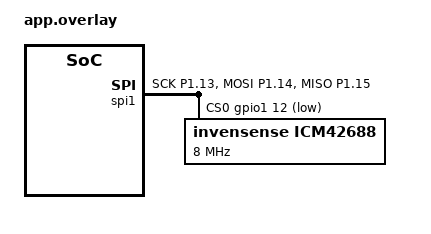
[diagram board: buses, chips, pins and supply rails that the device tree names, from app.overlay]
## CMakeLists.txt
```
# AeroDrag Wheel — Zephyr application (skeleton)
# NB: firmware SEPARATO (nRF52840). NON fa parte del build ESP-IDF della repo madre.
cmake_minimum_required(VERSION 3.20.0)

find_package(Zephyr REQUIRED HINTS $ENV{ZEPHYR_BASE})
project(aerodrag_wheel)

target_sources(app PRIVATE src/main.c)
```

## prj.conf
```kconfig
# AeroDrag Wheel — Zephyr / nRF Connect SDK config
# Board: XIAO BLE Sense (xiao_ble/nrf52840/sense) — IMU LSM6DS3TR-C onboard.

# BLE peripheral
CONFIG_BT=y
CONFIG_BT_PERIPHERAL=y
CONFIG_BT_DEVICE_NAME="AeroDrag Wheel"
CONFIG_BT_MAX_CONN=2
CONFIG_BT_GATT_CLIENT=n
CONFIG_BT_GATT_DYNAMIC_DB=y

# IMU onboard LSM6DS3TR-C (su I2C interno). Il LSM6DS3TR-C è register-compatibile
# con la famiglia LSM6DSL; verifica il driver/Kconfig corretto per la tua versione
# di NCS (alcune board lo dichiarano già nella DTS — vedi README).
CONFIG_SENSOR=y
CONFIG_I2C=y
CONFIG_LSM6DSL=y

# Floating point + stampa %f nei log
CONFIG_FPU=y
CONFIG_CBPRINTF_FP_SUPPORT=y

# Stack
CONFIG_MAIN_STACK_SIZE=4096
CONFIG_SYSTEM_WORKQUEUE_STACK_SIZE=2048

# Logging
CONFIG_LOG=y
```

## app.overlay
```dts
/*
 * AeroDrag Wheel — devicetree overlay (TEMPLATE, da adattare alla board reale).
 * ICM-42688-P collegato via SPI. Pin/SPI da verificare sulla scheda definitiva.
 * Esempio per nRF52840 (spi1). Aggiusta cs-gpios e i pin secondo l'HW.
 */

&pinctrl {
	spi1_default: spi1_default {
		group1 {
			psels = <NRF_PSEL(SPIM_SCK,  1, 13)>,
				<NRF_PSEL(SPIM_MOSI, 1, 14)>,
				<NRF_PSEL(SPIM_MISO, 1, 15)>;
		};
	};
	spi1_sleep: spi1_sleep {
		group1 {
			psels = <NRF_PSEL(SPIM_SCK,  1, 13)>,
				<NRF_PSEL(SPIM_MOSI, 1, 14)>,
				<NRF_PSEL(SPIM_MISO, 1, 15)>;
			low-power-enable;
		};
	};
};

&spi1 {
	status = "okay";
	cs-gpios = <&gpio1 12 GPIO_ACTIVE_LOW>;
	pinctrl-0 = <&spi1_default>;
	pinctrl-1 = <&spi1_sleep>;
	pinctrl-names = "default", "sleep";

	icm42688: icm42688@0 {
		compatible = "invensense,icm42688";
		reg = <0>;
		spi-max-frequency = <8000000>;
		/* int-gpios opzionale: data-ready su un GPIO se cablato */
	};
};

/ {
	aliases {
		imu = &icm42688;
	};
};
```

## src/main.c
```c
/*
 * AeroDrag Wheel — firmware sensore ruota Crr
 * Board: Seeed XIAO BLE Sense (nRF52840 Sense) — IMU LSM6DS3TR-C onboard (I2C).
 * Zephyr / nRF Connect SDK.   Build: west build -b xiao_ble/nrf52840/sense
 *
 * Espone il servizio BLE 0xBB00 (contract: ../docs/CONTRACT.md, confine
 * firmware↔wheel). Da v0.2.0 il consumer è l'ESP32 (BLE central), che relaya
 * lo stream all'app (0xaa0c) e inoltra comandi/config.
 *
 *   0xBB01 STREAM  NOTIFY 10 Hz  16B: float speedMs, accelMs2, tempC, vibRMS
 *   0xBB02 RESULT  NOTIFY        6B:  float crr + uint8 quality + uint8 runIdx (legacy)
 *   0xBB03 CMD     WRITE         1B:  0x01 indoor / 0x02 out-A / 0x03 out-B / 0xFF cancel
 *   0xBB04 CONFIG  READ+WRITE    8B:  float tireCircM + float massKg
 *
 * ── MODELLO FISICO (ASSUNZIONI HW — da validare su hardware) ──────────────────
 * La board è montata sul MOZZO della ruota: l'asse di rotazione della ruota
 * coincide con l'asse Z del giroscopio della IMU. Quindi:
 *   omega   = |gyro_z|                      [rad/s]   (velocità angolare ruota)
 *   radius  = tireCircM / (2·pi)            [m]
 *   speedMs = omega · radius                [m/s]
 *   accelMs2 = d(speedMs)/dt (low-pass)     [m/s²]    (decelerazione coast-down)
 *   vibRMS  = RMS della componente AC del modulo accelerometrico [m/s²]
 *             (deviazione dalla media mobile → rugosità superficie)
 *   tempC   = temperatura die IMU           [°C]
 * Le costanti di montaggio/segno vanno verificate; se l'asse di spin non è Z,
 * cambiare GYRO_SPIN_CHAN sotto.
 */

#include <zephyr/kernel.h>
#include <zephyr/device.h>
#include <zephyr/drivers/sensor.h>
#include <zephyr/bluetooth/bluetooth.h>
#include <zephyr/bluetooth/gatt.h>
#include <zephyr/bluetooth/uuid.h>
#include <zephyr/logging/log.h>
#include <math.h>
#include <string.h>

LOG_MODULE_REGISTER(aerodrag_wheel, LOG_LEVEL_INF);

#define PI_F            3.14159265f
#define SAMPLE_HZ       100                 /* campionamento IMU              */
#define STREAM_DIV      10                  /* notify a 100/10 = 10 Hz        */
#define SAMPLE_PERIOD   K_MSEC(1000 / SAMPLE_HZ)
#define DT_S            (1.0f / SAMPLE_HZ)
#define ACCEL_LP_ALPHA  0.2f                /* low-pass su accelMs2           */
#define VIB_MEAN_ALPHA  0.05f               /* media mobile modulo accel      */

/* IMU: usa l'alias 'imu' se la board lo definisce, altrimenti il primo
 * LSM6DSL/LSM6DSO con status okay (la board xiao_ble//sense dichiara l'IMU). */
#if DT_NODE_EXISTS(DT_ALIAS(imu))
#define IMU_NODE DT_ALIAS(imu)
#elif DT_HAS_COMPAT_STATUS_OKAY(st_lsm6dsl)
#define IMU_NODE DT_COMPAT_GET_ANY_STATUS_OKAY(st_lsm6dsl)
#elif DT_HAS_COMPAT_STATUS_OKAY(st_lsm6dso)
#define IMU_NODE DT_COMPAT_GET_ANY_STATUS_OKAY(st_lsm6dso)
#else
#error "IMU non trovata: definisci un alias 'imu' o abilita l'IMU onboard nella DTS"
#endif

/* ── UUID servizio/caratteristiche 0xBB00 ──────────────────────────────────── */
#define BT_UUID_WHEEL_SVC     BT_UUID_DECLARE_16(0xBB00)
#define BT_UUID_WHEEL_STREAM  BT_UUID_DECLARE_16(0xBB01)
#define BT_UUID_WHEEL_RESULT  BT_UUID_DECLARE_16(0xBB02)
#define BT_UUID_WHEEL_CMD     BT_UUID_DECLARE_16(0xBB03)
#define BT_UUID_WHEEL_CONFIG  BT_UUID_DECLARE_16(0xBB04)

/* ── Config (scritta dall'ESP32 via 0xBB04) ────────────────────────────────── */
struct wheel_config {
	float tire_circ_m;
	float mass_kg;
} __packed;
static struct wheel_config g_cfg = { .tire_circ_m = 2.105f, .mass_kg = 78.0f };

/* ── Stato coast-down (da 0xBB03) ──────────────────────────────────────────── */
enum coast_mode { COAST_IDLE = 0, COAST_INDOOR = 1, COAST_OUT_A = 2, COAST_OUT_B = 3 };
static enum coast_mode g_mode = COAST_IDLE;

/* ── Stato calcolo ─────────────────────────────────────────────────────────── */
static const struct device *g_imu;
static float g_speed_ms;      /* ultima velocità                              */
static float g_accel_lp;      /* accelMs2 filtrata                            */
static float g_am_mean;       /* media mobile |accel|                         */
static float g_vib_acc;       /* accumulatore dev² nella finestra 10 Hz       */
static uint16_t g_vib_n;      /* campioni nella finestra                      */
static float g_temp_c = 20.0f;
static uint8_t g_div;         /* divisore per il notify 10 Hz                 */

/* Notify subscription flag su STREAM */
static volatile bool g_stream_subscribed;

/* ── GATT ──────────────────────────────────────────────────────────────────── */

static ssize_t cfg_read(struct bt_conn *conn, const struct bt_gatt_attr *attr,
			void *buf, uint16_t len, uint16_t offset)
{
	return bt_gatt_attr_read(conn, attr, buf, len, offset, &g_cfg, sizeof(g_cfg));
}

static ssize_t cfg_write(struct bt_conn *conn, const struct bt_gatt_attr *attr,
			 const void *buf, uint16_t len, uint16_t offset, uint8_t flags)
{
	if (offset != 0 || len != sizeof(g_cfg)) {
		return BT_GATT_ERR(BT_ATT_ERR_INVALID_ATTRIBUTE_LEN);
	}
	memcpy(&g_cfg, buf, sizeof(g_cfg));
	LOG_INF("config: circ=%.3f m mass=%.1f kg", (double)g_cfg.tire_circ_m,
		(double)g_cfg.mass_kg);
	return len;
}

static ssize_t cmd_write(struct bt_conn *conn, const struct bt_gatt_attr *attr,
			 const void *buf, uint16_t len, uint16_t offset, uint8_t flags)
{
	if (offset != 0 || len != 1) {
		return BT_GATT_ERR(BT_ATT_ERR_INVALID_ATTRIBUTE_LEN);
	}
	uint8_t cmd = ((const uint8_t *)buf)[0];
	switch (cmd) {
	case 0x01: g_mode = COAST_INDOOR; break;
	case 0x02: g_mode = COAST_OUT_A;  break;
	case 0x03: g_mode = COAST_OUT_B;  break;
	case 0xFF: g_mode = COAST_IDLE;   break;
	default: return BT_GATT_ERR(BT_ATT_ERR_VALUE_NOT_ALLOWED);
	}
	LOG_INF("coast-down cmd=0x%02X mode=%d", cmd, g_mode);
	return len;
}

static void stream_ccc_cfg(const struct bt_gatt_attr *attr, uint16_t value)
{
	g_stream_subscribed = (value == BT_GATT_CCC_NOTIFY);
}

BT_GATT_SERVICE_DEFINE(wheel_svc,
	BT_GATT_PRIMARY_SERVICE(BT_UUID_WHEEL_SVC),

	BT_GATT_CHARACTERISTIC(BT_UUID_WHEEL_STREAM, BT_GATT_CHRC_NOTIFY,
			       BT_GATT_PERM_NONE, NULL, NULL, NULL),
	BT_GATT_CCC(stream_ccc_cfg, BT_GATT_PERM_READ | BT_GATT_PERM_WRITE),

	BT_GATT_CHARACTERISTIC(BT_UUID_WHEEL_RESULT, BT_GATT_CHRC_NOTIFY,
			       BT_GATT_PERM_NONE, NULL, NULL, NULL),
	BT_GATT_CCC(NULL, BT_GATT_PERM_READ | BT_GATT_PERM_WRITE),

	BT_GATT_CHARACTERISTIC(BT_UUID_WHEEL_CMD, BT_GATT_CHRC_WRITE,
			       BT_GATT_PERM_WRITE, NULL, cmd_write, NULL),

	BT_GATT_CHARACTERISTIC(BT_UUID_WHEEL_CONFIG,
			       BT_GATT_CHRC_READ | BT_GATT_CHRC_WRITE,
			       BT_GATT_PERM_READ | BT_GATT_PERM_WRITE,
			       cfg_read, cfg_write, NULL),
);

#define ATTR_STREAM (&wheel_svc.attrs[1])

/* ── Sampling + calcolo + notify ───────────────────────────────────────────── */

/* Asse del giroscopio allineato con l'asse di spin della ruota (vedi assunzioni) */
#define GYRO_SPIN_CHAN  SENSOR_CHAN_GYRO_Z

static void process_sample(void)
{
	struct sensor_value gyro[3], accel[3], temp;

	if (sensor_sample_fetch(g_imu) != 0) {
		return;
	}

	/* Velocità angolare ruota → velocità lineare */
	float omega = 0.0f;
	if (sensor_channel_get(g_imu, GYRO_SPIN_CHAN, &gyro[2]) == 0) {
		omega = fabsf((float)sensor_value_to_double(&gyro[2]));  /* rad/s */
	}
	float radius = g_cfg.tire_circ_m / (2.0f * PI_F);
	float speed = omega * radius;
	bool speed_valid = (speed >= 0.05f);   /* omega significativo? */
	if (!speed_valid) speed = 0.0f;

	/* Accelerazione (decelerazione) longitudinale = d(speed)/dt, low-pass.
	 * A fermo (speed azzerato bruscamente <0.05) il delta produrrebbe grandi
	 * salti spuri: aggiorna l'accel SOLO quando omega è significativo. */
	if (speed_valid) {
		float a = (speed - g_speed_ms) / DT_S;
		g_accel_lp += ACCEL_LP_ALPHA * (a - g_accel_lp);
	} else {
		g_accel_lp = 0.0f;
	}
	g_speed_ms = speed;

	/* Vibrazione: deviazione del modulo accelerometrico dalla media mobile */
	if (sensor_channel_get(g_imu, SENSOR_CHAN_ACCEL_XYZ, accel) == 0) {
		float ax = (float)sensor_value_to_double(&accel[0]);
		float ay = (float)sensor_value_to_double(&accel[1]);
		float az = (float)sensor_value_to_double(&accel[2]);
		float am = sqrtf(ax*ax + ay*ay + az*az);
		g_am_mean += VIB_MEAN_ALPHA * (am - g_am_mean);
		float dev = am - g_am_mean;
		g_vib_acc += dev * dev;
		g_vib_n++;
	}

	if (sensor_channel_get(g_imu, SENSOR_CHAN_DIE_TEMP, &temp) == 0) {
		g_temp_c = (float)sensor_value_to_double(&temp);
	}

	/* Notify STREAM a 10 Hz */
	if (++g_div >= STREAM_DIV) {
		g_div = 0;
		float vib_rms = (g_vib_n > 0) ? sqrtf(g_vib_acc / (float)g_vib_n) : 0.0f;
		/* Gli accumulatori vibrazione vanno azzerati ogni ciclo STREAM_DIV,
		 * indipendentemente dal fatto che si notifichi o meno. */
		g_vib_acc = 0.0f;
		g_vib_n   = 0;

		/* La notify STREAM avviene SOLO durante un coast-down attivo. */
		if (g_stream_subscribed && g_mode != COAST_IDLE) {
			float frame[4] = { g_speed_ms, g_accel_lp, g_temp_c, vib_rms };
			bt_gatt_notify(NULL, ATTR_STREAM, frame, sizeof(frame));
		}
	}
}

static void sample_work_fn(struct k_work *work);
static K_WORK_DELAYABLE_DEFINE(sample_work, sample_work_fn);

static void sample_work_fn(struct k_work *work)
{
	if (g_imu && device_is_ready(g_imu)) {
		process_sample();
	}
	k_work_reschedule(&sample_work, SAMPLE_PERIOD);
}

/* ── Advertising ───────────────────────────────────────────────────────────── */
static const struct bt_data ad[] = {
	BT_DATA_BYTES(BT_DATA_FLAGS, BT_LE_AD_GENERAL | BT_LE_AD_NO_BREDR),
	BT_DATA_BYTES(BT_DATA_UUID16_ALL, 0x00, 0xBB), /* 0xBB00 (LE) */
};

static void bt_ready(int err)
{
	if (err) {
		LOG_ERR("BLE init failed (%d)", err);
		return;
	}
	bt_le_adv_start(BT_LE_ADV_CONN_NAME, ad, ARRAY_SIZE(ad), NULL, 0);
	LOG_INF("AeroDrag Wheel advertising (svc 0xBB00)");
	k_work_schedule(&sample_work, SAMPLE_PERIOD);
}

int main(void)
{
	g_imu = DEVICE_DT_GET(IMU_NODE);
	if (!device_is_ready(g_imu)) {
		LOG_ERR("IMU (LSM6DS3TR-C) non pronta — stream a zero finché non risponde");
	} else {
		LOG_INF("IMU pronta");
	}

	int err = bt_enable(bt_ready);
	if (err) {
		LOG_ERR("bt_enable failed (%d)", err);
	}
	return 0;
}
```
